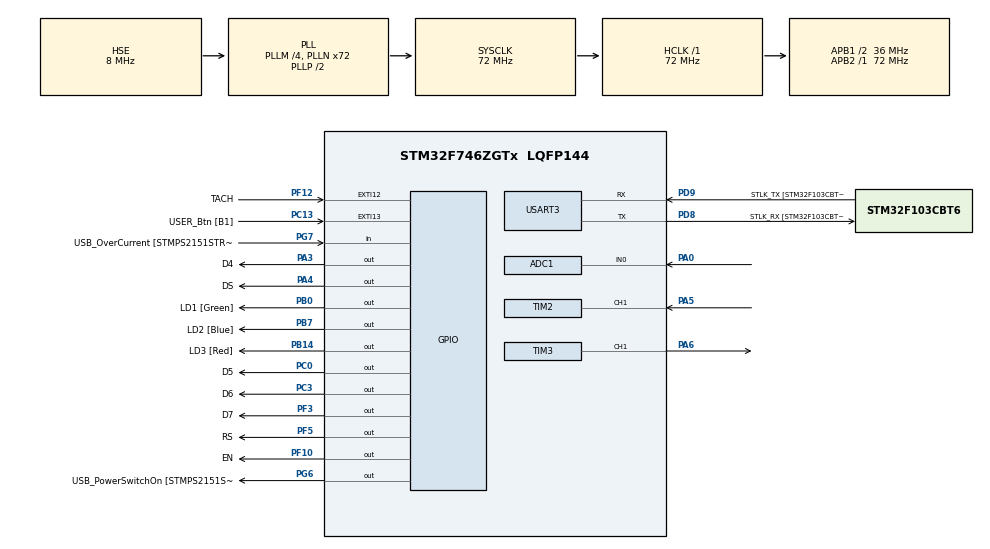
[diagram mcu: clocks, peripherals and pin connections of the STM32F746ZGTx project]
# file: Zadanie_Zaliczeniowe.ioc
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ADC1.Channel-2\#ChannelRegularConversion=ADC_CHANNEL_0
ADC1.NbrOfConversionFlag=1
ADC1.Rank-2\#ChannelRegularConversion=1
ADC1.SamplingTime-2\#ChannelRegularConversion=ADC_SAMPLETIME_3CYCLES
ADC1.master=1
ARM.CMSIS.5.7.0.CMSISJjCORE=true
ARM.CMSIS.5.7.0.CMSISJjDSP=Library
Mcu.Family=STM32F7
Mcu.Name=STM32F746ZGTx
Mcu.Package=LQFP144
NVIC.EXTI15_10_IRQn=true\:0\:0\:false\:false\:true\:true\:true\:true
NVIC.PriorityGroup=NVIC_PRIORITYGROUP_4
NVIC.TIM2_IRQn=true\:0\:0\:false\:false\:true\:true\:true\:true
NVIC.TIM3_IRQn=true\:0\:0\:false\:false\:true\:true\:true\:true
NVIC.TIM4_IRQn=true\:0\:0\:false\:false\:true\:true\:true\:true
NVIC.TIM7_IRQn=true\:0\:0\:false\:false\:true\:true\:true\:true
NVIC.USART3_IRQn=true\:0\:0\:false\:false\:true\:true\:true\:true
PA0/WKUP.Signal=ADCx_IN0
PA1.GPIO_Label=RMII_REF_CLK [LAN8742A-CZ-TR_REFCLK0]
PA1.Signal=ETH_REF_CLK
PA10.GPIO_Label=USB_ID
PA10.Signal=USB_OTG_FS_ID
PA11.GPIO_Label=USB_DM
PA11.Signal=USB_OTG_FS_DM
PA12.GPIO_Label=USB_DP
PA12.Signal=USB_OTG_FS_DP
PA13.GPIO_Label=TMS
PA13.Mode=Serial_Wire
PA13.Signal=SYS_JTMS-SWDIO
PA14.GPIO_Label=TCK
PA14.Mode=Serial_Wire
PA14.Signal=SYS_JTCK-SWCLK
PA2.GPIO_Label=RMII_MDIO [LAN8742A-CZ-TR_MDIO]
PA2.Signal=ETH_MDIO
PA3.GPIO_Label=D4
PA3.Signal=GPIO_Output
PA4.GPIO_Label=DS
PA4.GPIO_ModeDefaultOutputPP=GPIO_MODE_OUTPUT_OD
PA4.GPIO_PuPd=GPIO_NOPULL
PA4.PinState=GPIO_PIN_SET
PA4.Signal=GPIO_Output
PA5.GPIO_PuPd=GPIO_PULLUP
PA5.Signal=S_TIM2_CH1_ETR
PA6.GPIO_ModeDefaultPP=GPIO_MODE_AF_PP
PA6.GPIO_PuPd=GPIO_NOPULL
PA6.GPIO_Speed=GPIO_SPEED_FREQ_LOW
PA6.Signal=S_TIM3_CH1
PA7.GPIO_Label=RMII_CRS_DV [LAN8742A-CZ-TR_CRS_DV]
PA7.Signal=ETH_CRS_DV
PA8.GPIO_Label=USB_SOF [TP1]
PA8.Signal=USB_OTG_FS_SOF
PA9.GPIO_Label=USB_VBUS
PA9.Signal=USB_OTG_FS_VBUS
PB0.GPIO_Label=LD1 [Green]
PB0.Signal=GPIO_Output
PB13.GPIO_Label=RMII_TXD1 [LAN8742A-CZ-TR_TXD1]
PB13.Signal=ETH_TXD1
PB14.GPIO_Label=LD3 [Red]
PB14.Signal=GPIO_Output
PB3.GPIO_Label=SW0
PB3.Signal=SYS_JTDO-SWO
PB7.GPIO_Label=LD2 [Blue]
PB7.Signal=GPIO_Output
PC0.GPIO_Label=D5
PC0.Signal=GPIO_Output
PC1.GPIO_Label=RMII_MDC [LAN8742A-CZ-TR_MDC]
PC1.Signal=ETH_MDC
PC13.GPIO_Label=USER_Btn [B1]
PC13.Signal=GPXTI13
PC14/OSC32_IN.Mode=LSE-External-Oscillator
PC14/OSC32_IN.Signal=RCC_OSC32_IN
PC15/OSC32_OUT.Mode=LSE-External-Oscillator
PC15/OSC32_OUT.Signal=RCC_OSC32_OUT
PC3.GPIO_Label=D6
PC3.Signal=GPIO_Output
PC4.GPIO_Label=RMII_RXD0 [LAN8742A-CZ-TR_RXD0]
PC4.Signal=ETH_RXD0
PC5.GPIO_Label=RMII_RXD1 [LAN8742A-CZ-TR_RXD1]
PC5.Signal=ETH_RXD1
PD8.GPIO_Label=STLK_RX [STM32F103CBT6_PA3]
PD8.Mode=Asynchronous
PD8.Signal=USART3_TX
PD9.GPIO_Label=STLK_TX [STM32F103CBT6_PA2]
PD9.Mode=Asynchronous
PD9.Signal=USART3_RX
PF10.GPIO_Label=EN
PF10.Signal=GPIO_Output
PF12.GPIO_Label=TACH
PF12.GPIO_PuPd=GPIO_PULLUP
PF12.Signal=GPXTI12
PF3.GPIO_Label=D7
PF3.Signal=GPIO_Output
PF5.GPIO_Label=RS
PF5.Signal=GPIO_Output
PG11.GPIO_Label=RMII_TX_EN [LAN8742A-CZ-TR_TXEN]
PG11.Signal=ETH_TX_EN
PG13.GPIO_Label=RMII_TXD0 [LAN8742A-CZ-TR_TXD0]
PG13.Signal=ETH_TXD0
PG6.GPIO_Label=USB_PowerSwitchOn [STMPS2151STR_EN]
PG6.Signal=GPIO_Output
PG7.GPIO_Label=USB_OverCurrent [STMPS2151STR_FAULT]
PG7.Signal=GPIO_Input
PH0/OSC_IN.GPIO_Label=MCO [STM32F103CBT6_PA8]
PH0/OSC_IN.Mode=HSE-External-Clock-Source
PH0/OSC_IN.Signal=RCC_OSC_IN
PH1/OSC_OUT.Mode=HSE-External-Clock-Source
PH1/OSC_OUT.Signal=RCC_OSC_OUT
ProjectManager.HeapSize=0x200
ProjectManager.StackSize=0x400
ProjectManager.TargetToolchain=STM32CubeIDE
RCC.48MHZClocksFreq_Value=24000000
RCC.AHBFreq_Value=72000000
RCC.APB1CLKDivider=RCC_HCLK_DIV2
RCC.APB1Freq_Value=36000000
RCC.APB1TimFreq_Value=72000000
RCC.APB2Freq_Value=72000000
RCC.APB2TimFreq_Value=72000000
RCC.CortexFreq_Value=72000000
RCC.HCLKFreq_Value=72000000
RCC.HSE_VALUE=8000000
RCC.HSI_VALUE=16000000
RCC.PLLM=4
RCC.PLLMUL=RCC_PLL_MUL9
RCC.PLLN=72
RCC.PLLQ=3
RCC.PLLSourceVirtual=RCC_PLLSOURCE_HSE
RCC.PRESCALERUSB=RCC_USBCLKSOURCE_PLL_DIV1_5
RCC.SYSCLKFreq_VALUE=72000000
RCC.SYSCLKSource=RCC_SYSCLKSOURCE_PLLCLK
RCC.SYSCLKSourceVirtual=RCC_SYSCLKSOURCE_PLLCLK
RCC.USBFreq_Value=48000000
RCC.VCOOutputFreq_Value=144000000
SH.ADCx_IN0.0=ADC1_IN0,IN0
SH.S_TIM2_CH1_ETR.0=TIM2_CH1,Input_Capture1_from_TI1
SH.S_TIM3_CH1.0=TIM3_CH1,PWM Generation1 CH1
TIM2.Channel-Input_Capture1_from_TI1=TIM_CHANNEL_1
TIM2.Prescaler=72
TIM3.Channel-PWM\ Generation1\ CH1=TIM_CHANNEL_1
TIM3.OC1Preload_PWM=DISABLE
TIM3.OCPolarity_1=TIM_OCPOLARITY_HIGH
TIM3.Period=99
TIM3.Prescaler=27
TIM3.Pulse-PWM\ Generation1\ CH1=39
TIM4.Period=1999
TIM4.Prescaler=7199
TIM6.Prescaler=71
TIM7.Period=9999
TIM7.Prescaler=7199
USART3.VirtualMode-Asynchronous=VM_ASYNC
VP_ARM.CMSIS_VS_CMSISJjCORE_5.4.0_5.7.0.Mode=CMSISJjCORE
VP_ARM.CMSIS_VS_CMSISJjDSP_1.8.0_5.7.0.Mode=CMSISJjDSP
VP_TIM2_VS_ClockSourceINT.Mode=Internal
VP_TIM3_VS_ClockSourceINT.Mode=Internal
VP_TIM4_VS_ClockSourceINT.Mode=Internal
VP_TIM6_VS_ClockSourceINT.Mode=Enable_Timer
VP_TIM7_VS_ClockSourceINT.Mode=Enable_Timer
board=NUCLEO-F746ZG

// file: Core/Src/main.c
/* USER CODE BEGIN Header */
/**
  ******************************************************************************
  * @file           : main.c
  * @brief          : Main program body
  ******************************************************************************
  * @attention
  *
  * Copyright (c) 2023 STMicroelectronics.
  * All rights reserved.
  *
  * This software is licensed under terms that can be found in the LICENSE file
  * in the root directory of this software component.
  * If no LICENSE file comes with this software, it is provided AS-IS.
  *
  ******************************************************************************
  */
/* USER CODE END Header */
#include "main.h"
#include "adc.h"
#include "tim.h"
#include "usart.h"
#include "gpio.h"

/* USER CODE BEGIN Includes */
#include "lcd.h"
#include "stm32f7xx_hal.h"
#include "DS18B20.h"
#include "pid_controller_config.h"
/* USER CODE END Includes */

/* USER CODE BEGIN PD */

int rpm = 0;
int rpm_ref_t = 0;
float temp = 0;
int Duty = 50;
int rpm_ref = 2000;
float e = 0;
_Bool mode = 0;
uint8_t rx_buffer[32];
uint16_t msg_len;
uint32_t IC_Val1 = 0;
uint32_t IC_Val2 = 0;
uint32_t Difference = 0;
int Is_First_Captured = 0;

/* Measure Frequency */
float frequency = 0;

void HAL_TIM_IC_CaptureCallback(TIM_HandleTypeDef *htim)
{
	if(htim == &htim2)
	{

				if (htim->Channel == HAL_TIM_ACTIVE_CHANNEL_1)
				{
					if (Is_First_Captured==0) // if the first rising edge is not captured
					{
						IC_Val1 = HAL_TIM_ReadCapturedValue(htim, TIM_CHANNEL_1); // read the first value
						Is_First_Captured = 1;  // set the first captured as true
					}

					else   // If the first rising edge is captured, now we will capture the second edge
					{
						IC_Val2 = HAL_TIM_ReadCapturedValue(htim, TIM_CHANNEL_1);  // read second value

						if (IC_Val2 > IC_Val1)
						{
							Difference = IC_Val2-IC_Val1;
						}

						else if (IC_Val1 > IC_Val2)
						{
							Difference = (0xffffffff - IC_Val1) + IC_Val2;
						}

						float refClock = 72000000/(72);

						frequency = refClock/Difference;
						rpm = frequency*30;
						__HAL_TIM_SET_COUNTER(htim, 0);  // reset the counter
						Is_First_Captured = 0; // set it back to false
				}
			}
	}
}
void HAL_TIM_PeriodElapsedCallback(TIM_HandleTypeDef *htim)
{
  /// Oblcizenie sygnału sterującego.
  if(htim == &htim4)
  {
	  if(mode == 0)
	  {
		  __HAL_TIM_SET_COMPARE(&htim3, TIM_CHANNEL_1, (uint32_t)(Duty));
	  	  Duty = PID_GetOutput(&hpid1, rpm_ref, rpm);
	  	  e = rpm_ref - rpm;
	  }
	  else
	  {
		  __HAL_TIM_SET_COMPARE(&htim3, TIM_CHANNEL_1, (uint32_t)(Duty));
		  Duty = PID_GetOutput(&hpid1, rpm_ref_t, rpm);
		  e = rpm_ref_t - rpm;
	  }
  }
  /// Wysłanie aktualnych informacji o pracy układu poprzez port szeregowy.
  if(htim == &htim7)
    {
	  if(mode == 0)
	  {
		  uint8_t tx_buffer[64];
		  int resp_len = sprintf((char*)tx_buffer, "{ \"RPM\":%d, \"RPM_REF\":%d, \"Duty\":%d }\r", rpm, rpm_ref, Duty);
		  HAL_UART_Transmit(&huart3, tx_buffer, resp_len, 10);
	  }
	  else
	  {
		  uint8_t tx_buffer[64];
		  int resp_len = sprintf((char*)tx_buffer, "{ \"RPM\":%d, \"RPM_REF_T\":%d, \"Duty\":%d }\r", rpm, rpm_ref_t, Duty);
		  HAL_UART_Transmit(&huart3, tx_buffer, resp_len, 10);
	  }
    }
}

/* USER CODE END PD */

void SystemClock_Config(void);

/* USER CODE BEGIN 0 */
void HAL_UART_RxCpltCallback(UART_HandleTypeDef *huart)
{
  if(huart == &huart3)
	  if(rx_buffer[0] == 'M' && rx_buffer[1] == 'O' && rx_buffer[2] == 'D' && rx_buffer[3] == 'E')
	     {
		  if(mode == 0)
		  	  {
			  	  mode = 1;
		  	  }
		  else
		  	  {
			  	  mode = 0;
		  	  }
		  }
	  else
	  {
      sscanf((char*)&rx_buffer[0], "%d", &rpm_ref);
	  }
  HAL_UART_Receive_IT(&huart3, rx_buffer, msg_len);
}

/* USER CODE END 0 */

int main(void)
{

  /* MCU Configuration--------------------------------------------------------*/

  /* Reset of all peripherals, Initializes the Flash interface and the Systick. */
  HAL_Init();

  /* Configure the system clock */
  SystemClock_Config();

  /* Initialize all configured peripherals */
  MX_GPIO_Init();
  MX_USART3_UART_Init();
  MX_TIM6_Init();
  MX_TIM3_Init();
  MX_TIM4_Init();
  MX_ADC1_Init();
  MX_TIM2_Init();
  MX_TIM7_Init();
  /* USER CODE BEGIN 2 */
  Lcd_PortType ports[] = {
 		  D4_GPIO_Port, D5_GPIO_Port, D6_GPIO_Port, D7_GPIO_Port
  };
  Lcd_PinType pins[] = {D4_Pin, D5_Pin, D6_Pin, D7_Pin};

  Lcd_HandleTypeDef lcd = Lcd_create(ports, pins, RS_GPIO_Port, RS_Pin, EN_GPIO_Port, EN_Pin, LCD_4_BIT_MODE);

  if (ds18b20_init() != HAL_OK) {
    Error_Handler();
  }
  HAL_TIM_PWM_Start(&htim3,TIM_CHANNEL_1);
  HAL_TIM_Base_Start_IT(&htim4);
  HAL_TIM_Base_Start_IT(&htim7);
  HAL_TIM_IC_Start_IT(&htim2, TIM_CHANNEL_1);
  msg_len = strlen("0000\r");
  HAL_UART_Receive_IT(&huart3, rx_buffer, msg_len);
  /* USER CODE END 2 */

  /* Infinite loop */
  /* USER CODE BEGIN WHILE */
  while (1)
  {
	  /// Pomiar temperatury, obsługa wyświetlacza.
	  ds18b20_start_measure(NULL);
	  HAL_Delay(1000);
	  temp = ds18b20_get_temp(NULL);
	  rpm_ref_t = 40*temp+900;
	  Lcd_clear(&lcd);
	  Lcd_cursor(&lcd, 0,1);
	  Lcd_string(&lcd, "TEMP: ");
	  Lcd_cursor(&lcd, 0,7);
	  Lcd_float(&lcd, temp);

	  Lcd_cursor(&lcd, 1,1);
	  Lcd_string(&lcd, "RPM: ");
	  Lcd_cursor(&lcd, 1,7);
	  Lcd_int(&lcd, rpm);

    /* USER CODE END WHILE */

  }
}

void SystemClock_Config(void)
{
  RCC_OscInitTypeDef RCC_OscInitStruct = {0};
  RCC_ClkInitTypeDef RCC_ClkInitStruct = {0};

  /** Configure LSE Drive Capability
  */
  HAL_PWR_EnableBkUpAccess();

  /** Configure the main internal regulator output voltage
  */
  __HAL_RCC_PWR_CLK_ENABLE();
  __HAL_PWR_VOLTAGESCALING_CONFIG(PWR_REGULATOR_VOLTAGE_SCALE3);

  /** Initializes the RCC Oscillators according to the specified parameters
  * in the RCC_OscInitTypeDef structure.
  */
  RCC_OscInitStruct.OscillatorType = RCC_OSCILLATORTYPE_HSE;
  RCC_OscInitStruct.HSEState = RCC_HSE_BYPASS;
  RCC_OscInitStruct.PLL.PLLState = RCC_PLL_ON;
  RCC_OscInitStruct.PLL.PLLSource = RCC_PLLSOURCE_HSE;
  RCC_OscInitStruct.PLL.PLLM = 4;
  RCC_OscInitStruct.PLL.PLLN = 72;
  RCC_OscInitStruct.PLL.PLLP = RCC_PLLP_DIV2;
  RCC_OscInitStruct.PLL.PLLQ = 3;
  if (HAL_RCC_OscConfig(&RCC_OscInitStruct) != HAL_OK)
  {
    Error_Handler();
  }

  /** Initializes the CPU, AHB and APB buses clocks
  */
  RCC_ClkInitStruct.ClockType = RCC_CLOCKTYPE_HCLK|RCC_CLOCKTYPE_SYSCLK
                              |RCC_CLOCKTYPE_PCLK1|RCC_CLOCKTYPE_PCLK2;
  RCC_ClkInitStruct.SYSCLKSource = RCC_SYSCLKSOURCE_PLLCLK;
  RCC_ClkInitStruct.AHBCLKDivider = RCC_SYSCLK_DIV1;
  RCC_ClkInitStruct.APB1CLKDivider = RCC_HCLK_DIV2;
  RCC_ClkInitStruct.APB2CLKDivider = RCC_HCLK_DIV1;

  if (HAL_RCC_ClockConfig(&RCC_ClkInitStruct, FLASH_LATENCY_2) != HAL_OK)
  {
    Error_Handler();
  }
}

void Error_Handler(void)
{
  __disable_irq();
  while (1)
  {
  }
}
